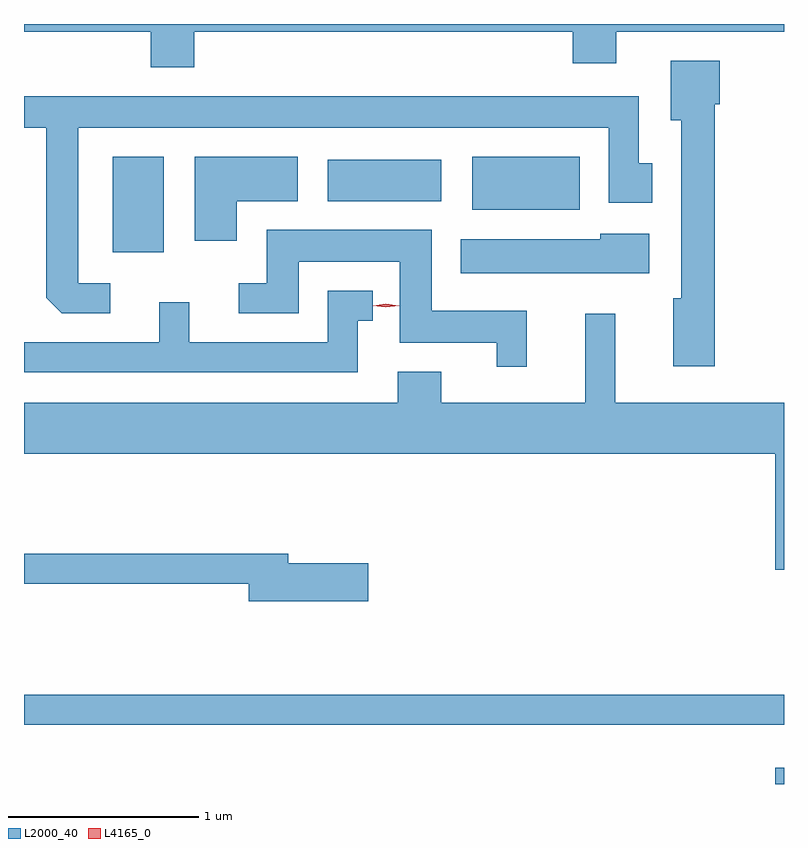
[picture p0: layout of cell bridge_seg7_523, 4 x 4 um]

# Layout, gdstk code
import gdstk
lib = gdstk.Library(unit=1e-6, precision=1e-09)
def R(c, l, rs):  # rectangles x0, y0, x1, y1
    for r in rs: c.add(gdstk.rectangle(r[:2], r[2:], *l))
def P(c, l, *ps):  # polygons
    for p in ps: c.add(gdstk.Polygon(p, *l))
L2000_40 = (2000, 40)
L4165_0 = (4165, 0)

bridge_seg7_523 = lib.new_cell('bridge_seg7_523')
R(bridge_seg7_523, L2000_40, [(854.436,1748.098,854.483,1748.184), (850.483,1748.411,854.483,1748.569), (850.951,1750.896,851.219,1751.399), (852.841,1751.121,853.409,1751.399), (852.081,1751.166,852.679,1751.384)])
P(bridge_seg7_523, L2000_40, [(851.379,1752.056),(853.371,1752.056),(853.371,1751.891),(853.599,1751.891),(853.599,1752.056),(854.483,1752.056),(854.483,1752.098),(850.483,1752.098),(850.483,1752.056),(851.151,1752.056),(851.151,1751.871),(851.379,1751.871)],
  [(854.119,1751.676),(854.144,1751.676),(854.144,1751.904),(853.886,1751.904),(853.886,1751.591),(853.941,1751.591),(853.941,1750.654),(853.901,1750.654),(853.901,1750.296),(854.119,1750.296)],
  [(850.938,1750.734),(850.769,1750.734),(850.769,1751.551),(853.561,1751.551),(853.561,1751.156),(853.789,1751.156),(853.789,1751.364),(853.719,1751.364),(853.719,1751.719),(850.483,1751.719),(850.483,1751.551),(850.601,1751.551),(850.601,1750.657),(850.682,1750.576),(850.938,1750.576)],
  [(851.604,1751.166),(851.924,1751.166),(851.924,1751.399),(851.381,1751.399),(851.381,1750.956),(851.604,1750.956)],
  [(853.129,1750.589),(852.629,1750.589),(852.629,1751.014),(851.761,1751.014),(851.761,1750.734),(851.613,1750.734),(851.613,1750.576),(851.929,1750.576),(851.929,1750.846),(852.461,1750.846),(852.461,1750.421),(852.971,1750.421),(852.971,1750.293),(853.129,1750.293)],
  [(853.774,1750.994),(853.516,1750.994),(853.516,1750.964),(852.781,1750.964),(852.781,1750.786),(853.774,1750.786)],
  [(852.239,1750.536),(852.318,1750.536),(852.318,1750.694),(852.081,1750.694),(852.081,1750.424),(851.354,1750.424),(851.354,1750.633),(851.196,1750.633),(851.196,1750.424),(850.483,1750.424),(850.483,1750.266),(852.239,1750.266)],
  [(854.483,1750.104),(853.594,1750.104),(853.594,1750.573),(853.436,1750.573),(853.436,1750.104),(852.679,1750.104),(852.679,1750.269),(852.451,1750.269),(852.451,1750.104),(850.483,1750.104),(850.483,1749.836),(854.436,1749.836),(854.436,1749.226),(854.483,1749.226)],
  [(852.294,1749.259),(851.874,1749.259),(851.874,1749.309),(850.483,1749.309),(850.483,1749.151),(851.666,1749.151),(851.666,1749.061),(852.294,1749.061)])
P(bridge_seg7_523, L4165_0, [(852.388,1750.606),(852.319,1750.614),(852.319,1750.615),(852.319,1750.616),(852.388,1750.625),(852.458,1750.616),(852.458,1750.616),(852.458,1750.615)])

lib.write_gds('bridge_seg7_523.gds')
